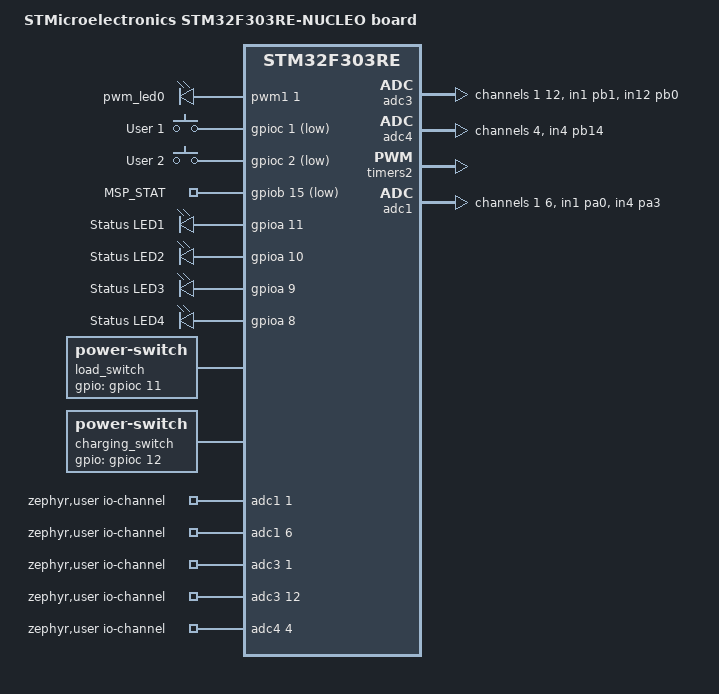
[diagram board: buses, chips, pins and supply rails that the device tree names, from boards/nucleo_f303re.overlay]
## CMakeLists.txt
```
# SPDX-License-Identifier: Apache-2.0

cmake_minimum_required(VERSION 3.20.0)

find_package(Zephyr REQUIRED HINTS $ENV{ZEPHYR_BASE})
project(ADC)

target_sources(app PRIVATE src/main.c)
target_sources(app PRIVATE src/tests/tests.c)
target_sources(app PRIVATE src/adc_reader/adc_reader.c)
target_sources(app PRIVATE src/user_interface/user_interface.c)
target_sources(app PRIVATE src/pwm_controller/pwm_controller.c)
target_sources(app PRIVATE src/power_path_controller/power_path_controller.c)
target_sources(app PRIVATE src/battery_monitor/battery_monitor.c)
target_sources(app PRIVATE src/gpio_controller/gpio_controller.c)
```

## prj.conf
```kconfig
CONFIG_ADC=y
CONFIG_GPIO=y
CONFIG_PWM=y
CONFIG_CONSOLE_SUBSYS=y
CONFIG_CONSOLE_GETCHAR=y
```

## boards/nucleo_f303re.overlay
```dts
/*
 * SPDX-License-Identifier: Apache-2.0
 *
 * Copyright (c) 2020 Libre Solar Technologies GmbH
 */

#include <zephyr/dt-bindings/adc/adc.h>
#include <st/f3/stm32f303r(d-e)tx-pinctrl.dtsi>

/ {
	model = "STMicroelectronics STM32F303RE-NUCLEO board";
	compatible = "st,stm32f303re-nucleo";

	pwmleds {
		compatible = "pwm-leds";
		pwm_led0: pwm_led_0 {
			pwms = <&pwm1 1 PWM_MSEC(1) PWM_POLARITY_NORMAL>; //TODO:On real board it's connected to PC0, but using PA5 for now bec of problem with TIM1 
		};
	};

	soc {
		//getting rid of adc2 becuase I don't want to deal with shared interrupts
		// adc2: adc@50000200 {
		// 	compatible = "st,stm32-adc";
		// 	reg = <0x50000100 0x50>;
		// 	clocks = <&rcc STM32_CLOCK_BUS_AHB1 0x10000000>;
		// 	interrupts = <18 0>; //geht nicht bec zephyr doesn't interrupt sharing
		// 	status = "disabled";
		// 	label = "ADC_2";
		// 	#io-channel-cells = <1>;
		// };
		adc3: adc@50000400 {
			compatible = "st,stm32-adc";
			reg = <0x50000400 0x50>;
			clocks = <&rcc STM32_CLOCK_BUS_AHB1 0x20000000>;
			interrupts = <47 0>; 
			status = "disabled";
			label = "ADC3";
			#io-channel-cells = <1>;
		};
		adc4: adc@50000500 {
			compatible = "st,stm32-adc";
			reg = <0x50000500 0x50>;
			clocks = <&rcc STM32_CLOCK_BUS_AHB1 0x20000000>;
			interrupts = <61 0>; 
			status = "disabled";
			label = "ADC4";
			#io-channel-cells = <1>;
		};
	};

	gpio_keys {
		user_button_1: button_1 {
			label = "User 1";
			gpios = <&gpioc 1 GPIO_ACTIVE_LOW>; //change to pa1 when on read board
		};
		user_button_2: button_2 {
			label = "User 2";
			gpios = <&gpioc 2 GPIO_ACTIVE_LOW>; //change to pa2 when on read board
		};
		msp_stat: msp_stat {
			label = "MSP_STAT";
			gpios = <&gpiob 15 GPIO_ACTIVE_LOW>; //change to pa2 when on read board
		};
	};

	leds {
		compatible = "gpio-leds";
		status_led_1: status_led_1{
			gpios = < &gpioa 11 GPIO_ACTIVE_HIGH >;
			label = "Status LED1";
		};
		status_led_2: status_led_2{
			gpios = < &gpioa 10 GPIO_ACTIVE_HIGH >;
			label = "Status LED2";
		};
		status_led_3: status_led_3{
			gpios = < &gpioa 9 GPIO_ACTIVE_HIGH >;
			label = "Status LED3";
		};
		status_led_4: status_led_4{
			gpios = < &gpioa 8 GPIO_ACTIVE_HIGH >;
			label = "Status LED4";
		};

	};

	load_switch: load_switch {
		compatible = "power-switch";
		gpios = <&gpioc 11 GPIO_ACTIVE_HIGH>;
	};
	charging_switch: charging_switch {
		compatible = "power-switch";
		gpios = <&gpioc 12 GPIO_ACTIVE_HIGH>;
	};

	aliases {
		tl2 = &user_button_1;
		tl3 = &user_button_2;
		pwm-led0 = &pwm_led0;
		statusled1 = &status_led_1;
		statusled2 = &status_led_2;
		statusled3 = &status_led_3;
		statusled4 = &status_led_4;
		mspstat = &msp_stat;
	};


};

&timers2 {
	status = "okay";

	pwm1: pwm {
		status = "okay";
		pinctrl-0 = <&tim2_ch1_pa5>;	//TODO:On real board it's connected to PC0, but using PA5 for now bec of problem with TIM1 
		pinctrl-names = "default";
	};
};

&adc1 {

	#address-cells = <1>;
	#size-cells = <0>;

	status = "okay";
	pinctrl-0 = <&adc1_in1_pa0 &adc1_in4_pa3>;
	// pinctrl-1 = <&adc1_in4_pa3>;
	pinctrl-names = "default";
	label = "ADC1";
	vref-mv = <3300>;


	channel@1 {
		reg = <1>;
		zephyr,gain = "ADC_GAIN_1";
		zephyr,reference = "ADC_REF_INTERNAL";
		zephyr,acquisition-time = <ADC_ACQ_TIME_DEFAULT>;
		zephyr,resolution = <12>;
	};
	channel@6 {
		reg = <6>;
		zephyr,gain = "ADC_GAIN_1";
		zephyr,reference = "ADC_REF_INTERNAL";
		zephyr,acquisition-time = <ADC_ACQ_TIME_DEFAULT>;
		zephyr,resolution = <12>;
	};
};
&adc3 {

	#address-cells = <1>;
	#size-cells = <0>;
	vref-mv = <3300>;

	status = "okay";
	pinctrl-0 = <&adc3_in1_pb1 &adc3_in12_pb0>;
	pinctrl-names = "default";

	channel@1 {
		reg = <1>;
		zephyr,gain = "ADC_GAIN_1";
		zephyr,reference = "ADC_REF_INTERNAL";
		zephyr,acquisition-time = <ADC_ACQ_TIME_DEFAULT>;
		zephyr,resolution = <12>;
	};
	channel@12 {
		reg = <12>;
		zephyr,gain = "ADC_GAIN_1";
		zephyr,reference = "ADC_REF_INTERNAL";
		zephyr,acquisition-time = <ADC_ACQ_TIME_DEFAULT>;
		zephyr,resolution = <12>;
	};
};
&adc4 {

	#address-cells = <1>;
	#size-cells = <0>;
	vref-mv = <3300>;

	status = "okay";
	pinctrl-0 = <&adc4_in4_pb14>;
	pinctrl-names = "default";

	channel@4 {
		reg = <4>;
		zephyr,gain = "ADC_GAIN_1";
		zephyr,reference = "ADC_REF_INTERNAL";
		zephyr,acquisition-time = <ADC_ACQ_TIME_DEFAULT>;
		zephyr,resolution = <12>;
	};
};


/ {
	zephyr,user {
		/* adjust channel number according to pinmux in board.dts */
		io-channels = <&adc1 1>, <&adc1 6>, <&adc3 1>, <&adc3 12>, <&adc4 4>;
	};
};
```

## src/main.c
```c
#include "tests/tests.h"


void main(void)
{	
	test_end_to_end();
}
```

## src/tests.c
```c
/*
 * Copyright (c) 2020 Libre Solar Technologies GmbH
 *
 * SPDX-License-Identifier: Apache-2.0
 */

#include <inttypes.h>
#include <stddef.h>
#include <stdint.h>
#include <zephyr/kernel.h>
#include <zephyr/sys/printk.h>
#include <zephyr/sys/util.h>

#include "tests.h"

#include "adc_reader/adc_reader.h"
#include "user_interface/user_interface.h"
#include "pwm_controller/pwm_controller.h"
#include "power_path_controller/power_path_controller.h"
#include "battery_monitor/battery_monitor.h"


#define ADC_TEST_DURATION 1000
#define BAT_TEST_DURATION 1000
void test_end_to_end(void)
{
	GPIOController_t GPIOController;  
	ADCReader_t ADCReader;
	PWMController_t PWMController;
	PowerPathController_t PowerPathController;
	BatteryMonitor_t BatteryMonitor;
	UserInterface_t UserInterface;

	printk("\nEnd to End Test:  GPIO Controller\n");
	test_gpio_controller(&GPIOController);

	printk("\nEnd to End Test: ADC \n");
	int64_t cur_time = k_uptime_get(); 
	while(k_uptime_get() < cur_time + ADC_TEST_DURATION)
	{
		test_adc(&ADCReader);
		k_msleep(100);
	}

	//Run PWM Controller Test once
	printk("\nEnd to End Test:  PWM Controller\n");
	test_pwm_controller(&PWMController);


	//Run Power Path Controller Test once
	printk("\nEnd to End Test:  Power Path Controller\n");
	test_power_path_controller(&GPIOController, &PowerPathController);

	printk("\nEnd to End Test:  Battery Monitor\n");
	cur_time = k_uptime_get(); 
	while(k_uptime_get() < cur_time + BAT_TEST_DURATION)
	{
		test_battery_monitor(&BatteryMonitor, &ADCReader, &GPIOController);	
		k_msleep(100);
	}


	//Run UI Test and stay in loop
	printk("\nEnd to End Test:  UI\n");
	test_ui_loop(&UserInterface, &GPIOController, &PWMController);
}


void mock_callback_function_1(void)
{
	printk("hello from mock_callback_function 1\n");
}
void mock_callback_function_2(void)
{
	printk("hello from mock_callback_function 2\n");
}
void test_gpio_controller(GPIOController_t *GPIOController)
{
	
	initGPIOController(GPIOController);

	printk("GPIO Controller Unit Test\n");
	printk("Turning all status LEDS off.. \n");
	GPIOController->setLED1(0);
	GPIOController->setLED2(0);
	GPIOController->setLED3(0);
	GPIOController->setLED4(0);
	k_msleep(500);

	printk("Turning all status LEDS on one by one.. \n");
	GPIOController->setLED1(1);
	k_msleep(250);
	GPIOController->setLED2(1);
	k_msleep(250);
	GPIOController->setLED3(1);
	k_msleep(250);
	GPIOController->setLED4(1);
	k_msleep(250);

	printk("Configuring button interrupts.. you have 5 seconds to test buttons \n");
	GPIOController->addBTN1Interrupt(mock_callback_function_1);
	GPIOController->addBTN2Interrupt(mock_callback_function_2);

	k_msleep(5000);

	printk("Switching button interrupts.. \n");
	GPIOController->addBTN1Interrupt(mock_callback_function_2);
	GPIOController->addBTN2Interrupt(mock_callback_function_1);
	
}


void test_adc(ADCReader_t *ADCReader)
{
	initADCReader(ADCReader);

	printk("ADC1: %5dmV     ", ADCReader->getADC1_mV(ADCReader));
	printk("ADC2: %5dmV     ", ADCReader->getADC2_mV(ADCReader));
	printk("V_BAT_ADC: %5dmV     ", ADCReader->getV_BAT_ADC_mV(ADCReader));
	printk("V_BAT_TEMP_ADC: %5dmV     ", ADCReader->getV_BAT_TEMP_ADC_mV(ADCReader));
	printk("BAT_CUR: %5dmV\n", ADCReader->getBAT_CUR_mV(ADCReader));

}

void test_adc_loop(ADCReader_t *ADCReader)
{
	while (1)
	{
		test_adc(ADCReader);
		k_msleep(100);
	}
}

void test_pwm_controller(PWMController_t *PWMController)
{
	/*PWM Controller Unit Test*/
	initPWMController(PWMController);


	printk("LED should fade on and off and brightness displayed on terminal.. \n");
		
	for(int i = 0;i < 10; i++)
	{
		PWMController->setLEDBrightness(i*10);
		printk("Brightness: %d \n", PWMController->getLEDBrightnessPercentage());
		k_sleep(K_MSEC(100));
	}
	for(int i = 0;i <= 10; i++)
	{
		PWMController->setLEDBrightness(100-i*10);
		printk("Brightness: %d \n", PWMController->getLEDBrightnessPercentage());
		k_sleep(K_MSEC(100));
	}
}



void test_power_path_controller(GPIOController_t *GPIOController, PowerPathController_t *PowerPathController)
{
	// clear_console();
	/*Power Path Controller Unit Test*/


	initPowerPathController(PowerPathController, GPIOController);


	printk("Power Path Controller Test: check connected logic analyzer\n");

	printk("\n");


	printk("Turning Charging off for 2 seconds: PROG/PC12) should be high \n");
	PowerPathController->setBatteryCharger(false);
	k_sleep(K_MSEC(2000));
	printk("Turning Charging off: (PROG (PC12) should be low bec of 2K Pulldown\n");
	PowerPathController->setBatteryCharger(true);
	printk("\n");

	k_sleep(K_MSEC(500));

	printk("Turning Load On for 1 Second: EN2 (PC11) should be High).. \n");
	PowerPathController->setLoad(true);
	k_sleep(K_MSEC(1000));
	printk("Turning Load Off: EN2 (PC11) should be Low).. \n");
	PowerPathController->setLoad(false);
		
}



void test_ui_loop(UserInterface_t *UserInterface, GPIOController_t *GPIOController, PWMController_t *PWMController)
{
	/*User Interface Unit Test*/
	initUserInterface(UserInterface, PWMController, GPIOController);

	printk("User Interface Test: Displays user input and sets the status led \n");
	int soc_percentage = 0;

	int dir = 1;
	while(1){

		uint32_t user_input = UserInterface->getUserInputLEDBrightnessPercent();
		printk("User Input LED Brighness Percentage: %d \n", user_input);
		UserInterface->setStatusLEDs(soc_percentage);

		k_sleep(K_MSEC(500));
		if(dir)
		{
			soc_percentage = soc_percentage + 25;
		}
		else{
			soc_percentage = soc_percentage - 25;
		}

		if((soc_percentage == 100) | (soc_percentage == 0))
		{
			dir = !dir;
		}
	}
}

void test_battery_monitor(BatteryMonitor_t *BatteryMonitor, ADCReader_t *ADCReader, GPIOController_t *GPIOController)
{
	/* Battery Monitor Unit Test */

	initBatteryMonitor(BatteryMonitor, ADCReader, GPIOController);

	printk("Battery Monitor Unit Test: \n");
	printk("%20s Temperature: %4d °C | Voltage: %4d mV | Current: %4d mA | Charging: %s\n","ADC_example: ",  1500,2100,1850,1 ? "true" : "false");
	printk("%20s Temperature: %4d °C | Voltage: %4d mV | Current: %4d mA | Charging: %s\n","Actual_example: ",  25,3900,300,1 ? "true" : "false");
	printk("\n");

	printk("%20s Temperature: %4d mV | Voltage: %4d mV | Current: %4d mV | Charging: %s\n","ADC: ",  BatteryMonitor->ADCReader->getV_BAT_TEMP_ADC_mV(BatteryMonitor->ADCReader),BatteryMonitor->ADCReader->getV_BAT_ADC_mV(BatteryMonitor->ADCReader),BatteryMonitor->ADCReader->getBAT_CUR_mV(BatteryMonitor->ADCReader),1 ? "true" : "false");
	printk("%20s Temperature: %4d °C | Voltage: %4d mV | Current: %4d mA | Charging: %s\n","Actual: ",  BatteryMonitor->getBatteryTemperature(),BatteryMonitor->getBatteryVoltage(),BatteryMonitor->getBatteryCurrent(), BatteryMonitor->getBatteryIsCharging() ? "true" : "false");
	printk("\n");


}
void test_battery_monitor_loop(BatteryMonitor_t *BatteryMonitor, ADCReader_t *ADCReader, GPIOController_t *GPIOController)
{
	/* Battery Monitor Unit Test */
	initBatteryMonitor(BatteryMonitor, ADCReader, GPIOController);


	printk("Battery Monitor Unit Test: \n");
	printk("%20s Temperature: %4d °C | Voltage: %4d mV | Current: %4d mA | Charging: %s\n","ADC_example: ",  1500,2100,1850,1 ? "true" : "false");
	printk("%20s Temperature: %4d °C | Voltage: %4d mV | Current: %4d mA | Charging: %s\n","Actual_example: ",  25,3900,300,1 ? "true" : "false");
	printk("\n");

	while(1)
	{
		printk("%20s Temperature: %4d mV | Voltage: %4d mV | Current: %4d mV | Charging: %s\n","ADC: ",  BatteryMonitor->ADCReader->getV_BAT_TEMP_ADC_mV(BatteryMonitor->ADCReader),BatteryMonitor->ADCReader->getV_BAT_ADC_mV(BatteryMonitor->ADCReader),BatteryMonitor->ADCReader->getBAT_CUR_mV(BatteryMonitor->ADCReader),1 ? "true" : "false");
		printk("%20s Temperature: %4d °C | Voltage: %4d mV | Current: %4d mA | Charging: %s\n","Actual: ",  BatteryMonitor->getBatteryTemperature(),BatteryMonitor->getBatteryVoltage(),BatteryMonitor->getBatteryCurrent(), BatteryMonitor->getBatteryIsCharging() ? "true" : "false");
		printk("\n");

		k_msleep(1000);
	}

}




void clear_console(void)
{
	// printk("\n");
	// printk("\033[2J");
	// printk("\033[2J");
	// printk("\n\r");
}
```

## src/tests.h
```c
#include "adc_reader/adc_reader.h"
#include "user_interface/user_interface.h"
#include "pwm_controller/pwm_controller.h"
#include "power_path_controller/power_path_controller.h"
#include "battery_monitor/battery_monitor.h"


void clear_console(void);

void test_end_to_end(void);

//Unit Tests

void test_gpio_controller(GPIOController_t *GPIOController);

void test_adc(ADCReader_t *ADCReader);
void test_adc_loop(ADCReader_t *ADCReader);

void test_pwm_controller(PWMController_t *PWMController);

void test_power_path_controller(GPIOController_t *GPIOController, PowerPathController_t *PowerPathController);

void test_ui_loop(UserInterface_t *UserInterface, GPIOController_t *GPIOController, PWMController_t *PWMController);

void test_battery_monitor(BatteryMonitor_t *BatteryMonitor, ADCReader_t *ADCReader, GPIOController_t *GPIOController);
void test_battery_monitor_loop(BatteryMonitor_t *BatteryMonitor, ADCReader_t *ADCReader, GPIOController_t *GPIOController);
```
